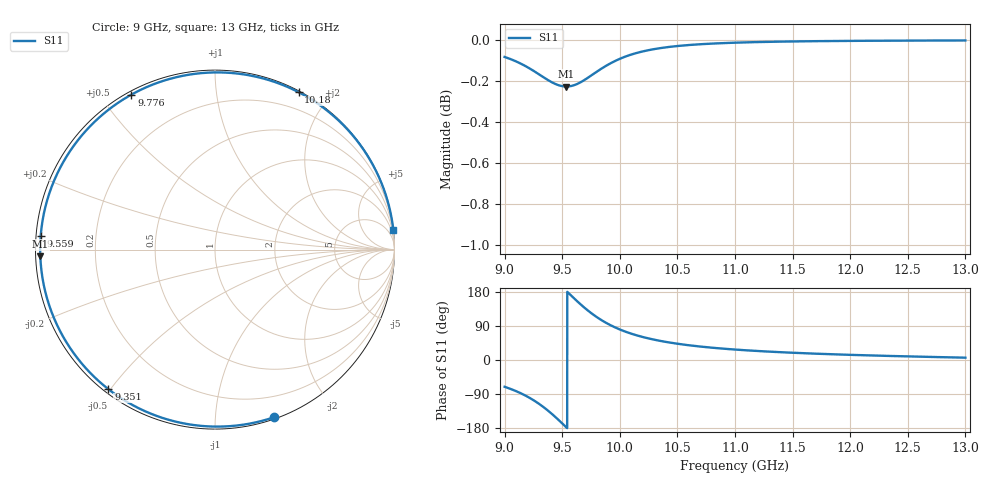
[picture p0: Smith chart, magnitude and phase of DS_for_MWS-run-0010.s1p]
! TOUCHSTONE file generated by CST DESIGN STUDIO
! Date and time: Tue Feb  4 12:36:39 2025
! Project name: C:\Work\MatlabApps\UnitCellOptimizationMatlab\CST\unitcell.cst
! Tree item: Tasks\Sweep1\SPara1\S-Parameters
! Header version: 2024
! Port assignment regex: !\s*Touchstone port\s*([0-9]+)\s*=\s*(CST MWS port|CST DES external port|CST DES block port)\s*(.+)\s* \(\"(.*)\"\)(\s*mode\s*([0-9]+))?.*
! Touchstone port assignment:
! Touchstone port 1 = CST DES external port 1 ("")
# GHz S MA R 50
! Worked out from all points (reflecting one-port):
!   4001 points, 9 GHz to 13 GHz, reference 50 ohm
!   lowest |S11| = -0.2 dB at 9.536 GHz (marker M1), VSWR 76.00, Z = 0.658 - j0.974 ohm
!   phase of S11 starts at -71 deg and turns -283 deg over the sweep
!   S11 on the Smith chart (normalised r, x): 9 GHz: 0.01, -1.41; 9.351 GHz: 0.01, -0.49; 9.559 GHz: 0.01, +0.04; 9.776 GHz: 0.01, +0.60; 10.18 GHz: 0.01, +1.66; 13 GHz: 0, +19
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9  0.9903 -70.7
9.099  0.9878 -82.1
9.207  0.9843 -98.2
9.283  0.9813 -112.4
9.351  0.9786 -127.4
9.422  0.976 -145.4
9.463  0.9749 -156.7
9.5  0.9742 -167.2
9.536  0.974 -177.8
9.559  0.9741 175.5
9.613  0.975 159.8
9.674  0.9769 143.0
9.725  0.9789 130.1
9.776  0.9811 118.3
9.824  0.9831 108.4
9.875  0.9852 99.1
9.933  0.9872 89.8
10  0.9893 80.6
10.087  0.9914 70.7
10.182  0.9931 62.0
10.327  0.9949 51.8
10.5  0.9964 42.9
10.721  0.9974 34.8
11  0.9982 27.6
11.5  0.9989 19.1
12  0.9992 13.6
12.5  0.9994 9.5
13  0.9995 6.2
